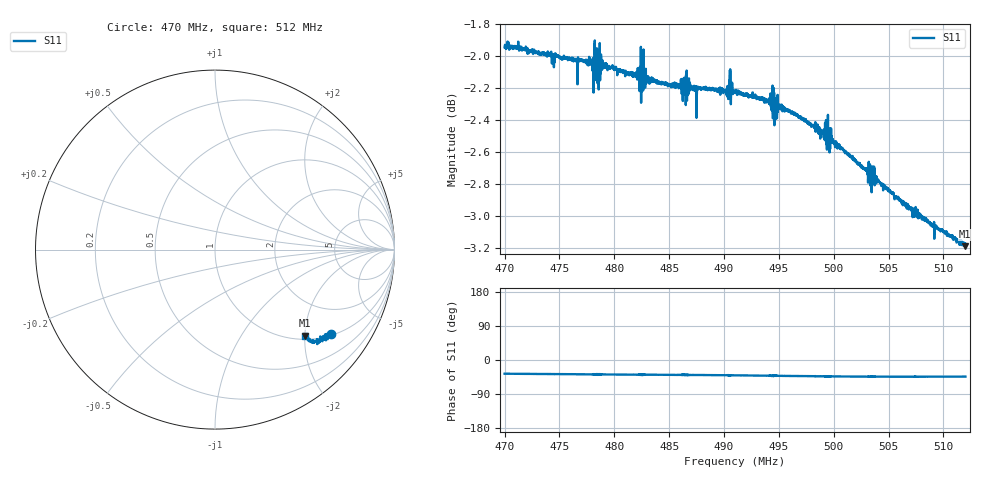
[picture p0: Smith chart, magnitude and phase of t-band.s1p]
! Calibrated averaged scanner-service zoom
# Hz S RI R 50
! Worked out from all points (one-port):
!   4001 points, 470 MHz to 512 MHz, reference 50 ohm
!   lowest |S11| = -3.2 dB at 511.9 MHz (marker M1), VSWR 5.51, Z = 54.3 - j99.9 ohm
!   |S11| at or under -10 dB: nowhere
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4.7e8  0.6453 -0.472
4.713545e8  0.6422 -0.4751
4.7525e8  0.6312 -0.481
4.778855e8  0.625 -0.4863
4.78316e8  0.6164 -0.4793
4.789565e8  0.6209 -0.4876
4.805e8  0.6168 -0.4889
4.822115e8  0.6149 -0.488
4.82642e8  0.6091 -0.4923
4.828625e8  0.6122 -0.4908
4.8575e8  0.605 -0.4901
4.87703e8  0.5983 -0.495
4.90559e8  0.5984 -0.5111
4.91e8  0.59 -0.5018
4.938665e8  0.5765 -0.509
4.943495e8  0.571 -0.5188
4.9478e8  0.5718 -0.5092
4.951895e8  0.5709 -0.5097
4.9625e8  0.5653 -0.5121
4.9961e8  0.5403 -0.5149
5.015e8  0.5354 -0.5096
5.033375e8  0.5184 -0.505
5.036315e8  0.5274 -0.5093
5.043245e8  0.5204 -0.5026
5.0675e8  0.5128 -0.4966
5.093645e8  0.5053 -0.4876
5.119265e8  0.5001 -0.4792
5.12e8  0.5008 -0.4801
